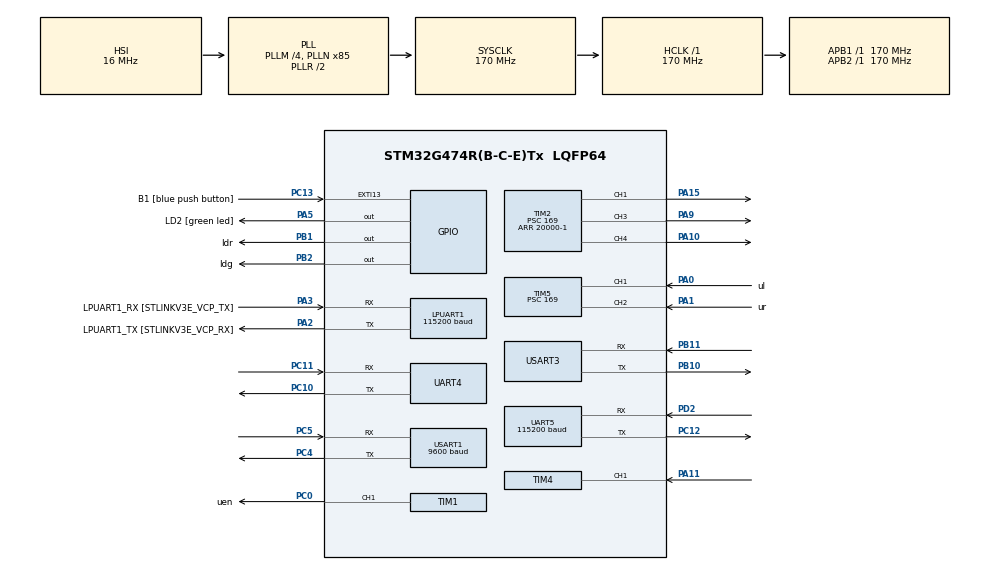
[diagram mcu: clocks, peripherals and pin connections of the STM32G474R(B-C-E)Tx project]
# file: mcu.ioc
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LPUART1.BaudRate=115200
Mcu.Family=STM32G4
Mcu.Name=STM32G474R(B-C-E)Tx
Mcu.Package=LQFP64
NVIC.EXTI15_10_IRQn=true\:0\:0\:false\:false\:true\:true\:true\:true
NVIC.PriorityGroup=NVIC_PRIORITYGROUP_4
NVIC.TIM4_IRQn=true\:0\:0\:false\:false\:true\:true\:true\:true
NVIC.TIM5_IRQn=true\:0\:0\:false\:false\:true\:true\:true\:true
PA0.GPIO_Label=ul
PA0.Signal=S_TIM5_CH1
PA1.GPIO_Label=ur
PA1.Signal=S_TIM5_CH2
PA10.Signal=S_TIM2_CH4
PA11.Signal=S_TIM4_CH1
PA13.GPIO_Label=T_SWDIO
PA13.Mode=Serial_Wire
PA13.Signal=SYS_JTMS-SWDIO
PA14.GPIO_Label=T_SWCLK
PA14.Mode=Serial_Wire
PA14.Signal=SYS_JTCK-SWCLK
PA15.Signal=S_TIM2_CH1
PA2.GPIO_Label=LPUART1_TX [STLINKV3E_VCP_RX]
PA2.Mode=Asynchronous
PA2.Signal=LPUART1_TX
PA3.GPIO_Label=LPUART1_RX [STLINKV3E_VCP_TX]
PA3.Mode=Asynchronous
PA3.Signal=LPUART1_RX
PA5.GPIO_Label=LD2 [green led]
PA5.Signal=GPIO_Output
PA9.Signal=S_TIM2_CH3
PB1.GPIO_Label=ldr
PB1.Signal=GPIO_Output
PB10.Mode=Asynchronous
PB10.Signal=USART3_TX
PB11.Mode=Asynchronous
PB11.Signal=USART3_RX
PB2.GPIO_Label=ldg
PB2.Signal=GPIO_Output
PB3.GPIO_Label=T_SWO
PB3.Signal=SYS_JTDO-SWO
PC0.GPIO_Label=uen
PC0.Signal=S_TIM1_CH1
PC10.Mode=Asynchronous
PC10.Signal=UART4_TX
PC11.Mode=Asynchronous
PC11.Signal=UART4_RX
PC12.Mode=Asynchronous
PC12.Signal=UART5_TX
PC13.GPIO_Label=B1 [blue push button]
PC13.Signal=GPXTI13
PC14-OSC32_IN.Mode=LSE-External-Oscillator
PC14-OSC32_IN.Signal=RCC_OSC32_IN
PC15-OSC32_OUT.Mode=LSE-External-Oscillator
PC15-OSC32_OUT.Signal=RCC_OSC32_OUT
PC4.Mode=Asynchronous
PC4.Signal=USART1_TX
PC5.Mode=Asynchronous
PC5.Signal=USART1_RX
PD2.Mode=Asynchronous
PD2.Signal=UART5_RX
PF0-OSC_IN.Mode=HSE-External-Oscillator
PF0-OSC_IN.Signal=RCC_OSC_IN
PF1-OSC_OUT.Mode=HSE-External-Oscillator
PF1-OSC_OUT.Signal=RCC_OSC_OUT
ProjectManager.HeapSize=0x200
ProjectManager.StackSize=0x400
ProjectManager.TargetToolchain=STM32CubeIDE
RCC.ADC12Freq_Value=170000000
RCC.ADC345Freq_Value=170000000
RCC.AHBFreq_Value=170000000
RCC.APB1Freq_Value=170000000
RCC.APB1TimFreq_Value=170000000
RCC.APB2Freq_Value=170000000
RCC.APB2TimFreq_Value=170000000
RCC.CortexFreq_Value=170000000
RCC.EXTERNAL_CLOCK_VALUE=12288000
RCC.HCLKFreq_Value=170000000
RCC.HSE_VALUE=24000000
RCC.HSI48_VALUE=48000000
RCC.HSI_VALUE=16000000
RCC.PLLM=RCC_PLLM_DIV4
RCC.PLLN=85
RCC.RTCClockSelection=RCC_RTCCLKSOURCE_LSE
RCC.SYSCLKFreq_VALUE=170000000
RCC.SYSCLKSource=RCC_SYSCLKSOURCE_PLLCLK
RCC.USBFreq_Value=170000000
RCC.VCOOutputFreq_Value=340000000
SH.S_TIM1_CH1.0=TIM1_CH1,PWM Generation1 CH1
SH.S_TIM2_CH1.0=TIM2_CH1,PWM Generation1 CH1
SH.S_TIM2_CH3.0=TIM2_CH3,PWM Generation3 CH3
SH.S_TIM2_CH4.0=TIM2_CH4,PWM Generation4 CH4
SH.S_TIM4_CH1.0=TIM4_CH1,Input_Capture1_from_TI1
SH.S_TIM5_CH1.0=TIM5_CH1,Input_Capture1_from_TI1
SH.S_TIM5_CH2.0=TIM5_CH2,Input_Capture2_from_TI2
TIM1.Channel-PWM\ Generation1\ CH1=TIM_CHANNEL_1
TIM1.PeriodNoDither=3499
TIM1.Prescaler=1699
TIM1.PulseNoDither_1=1
TIM2.Channel-PWM\ Generation1\ CH1=TIM_CHANNEL_1
TIM2.Channel-PWM\ Generation3\ CH3=TIM_CHANNEL_3
TIM2.Channel-PWM\ Generation4\ CH4=TIM_CHANNEL_4
TIM2.PeriodNoDither=20000-1
TIM2.Prescaler=169
TIM2.PulseNoDither_1=500
TIM2.PulseNoDither_3=500
TIM2.PulseNoDither_4=500
TIM4.Channel-Input_Capture1_from_TI1=TIM_CHANNEL_1
TIM4.ICPolarity_CH1=TIM_INPUTCHANNELPOLARITY_BOTHEDGE
TIM4.PeriodNoDither=0xffff
TIM4.Prescaler=33999
TIM5.Channel-Input_Capture1_from_TI1=TIM_CHANNEL_1
TIM5.Channel-Input_Capture2_from_TI2=TIM_CHANNEL_2
TIM5.ICPolarity_CH1=TIM_INPUTCHANNELPOLARITY_BOTHEDGE
TIM5.ICPolarity_CH2=TIM_INPUTCHANNELPOLARITY_BOTHEDGE
TIM5.PeriodNoDither=0xffffffff
TIM5.Prescaler=169
UART5.BaudRate=115200
USART1.BaudRate=9600
USART1.VirtualMode-Asynchronous=VM_ASYNC
USART3.VirtualMode-Asynchronous=VM_ASYNC
VP_SYS_VS_DBSignals.Mode=DisableDeadBatterySignals
VP_TIM1_VS_ClockSourceINT.Mode=Internal
VP_TIM2_VS_ClockSourceINT.Mode=Internal
VP_TIM4_VS_ClockSourceINT.Mode=Internal
VP_TIM5_VS_ClockSourceINT.Mode=Internal
board=NUCLEO-G474RE

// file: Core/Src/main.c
/* USER CODE BEGIN Header */
/**
 ******************************************************************************
 * @file           : main.c
 * @brief          : Main program body
 ******************************************************************************
 * @attention
 *
 * Copyright (c) 2023 STMicroelectronics.
 * All rights reserved.
 *
 * This software is licensed under terms that can be found in the LICENSE file
 * in the root directory of this software component.
 * If no LICENSE file comes with this software, it is provided AS-IS.
 *
 ******************************************************************************
 */
/* USER CODE END Header */
#include "main.h"

/* USER CODE BEGIN Includes */
#include "stdio.h"

#include "pid.h"
/* USER CODE END Includes */

/* USER CODE BEGIN PD */

// for ATK process
#define UART_ENABLE_RE(USARTx) USARTx.Instance->CR1 |= (uint32_t)0x0004
#define UART_DISABLE_RE(USARTx) USARTx.Instance->CR1 &= (~(uint32_t)0x0004)

/* USER CODE END PD */

UART_HandleTypeDef hlpuart1;
UART_HandleTypeDef huart4;
UART_HandleTypeDef huart5;
UART_HandleTypeDef huart1;
UART_HandleTypeDef huart3;

TIM_HandleTypeDef htim1;
TIM_HandleTypeDef htim2;
TIM_HandleTypeDef htim4;
TIM_HandleTypeDef htim5;

/* USER CODE BEGIN PV */
// varables for the timer
uint8_t timel_flag = 0; // 0: first capture, 1: second capture
uint8_t timel_fin = 0;  // 0: not finished, 1: finished
uint64_t timel_1 = 0;
uint64_t timel_2 = 0; // left sensor
double cml = 0;       // cm of left sensor

uint8_t timer_flag = 0; // 0: first capture, 1: second capture
uint8_t timer_fin = 0;  // 0: not finished, 1: finished
uint64_t timer_1 = 0;
uint64_t timer_2 = 0; // right sensor
double cmr = 0;       // cm of right sensor

uint8_t timef_flag = 0;
uint8_t timef_fin = 0; // 0: not finished, 1: finished
uint32_t timef_1 = 0;
uint32_t timef_2 = 0; // right sensor
double cmf = 0;       // cm of right sensor

uint8_t ultraerrorcount_f=0;
uint8_t ultraerrorcount_l=0;
uint8_t ultraerrorcount_r=0;
uint8_t lflag=0;
uint8_t rflag=0;

double Inputultra, Outputultra;
double Setpointultra = 0;
double Inputdistance, Outputdistance;
double Setpointdistance = 15;

double Inputopenmv, Outputopenmv;
double Setpointopenmv = 0;

double Inputgyro, Outputgyro;
double Setpointgyro = 0;

PID_TypeDef myPIDultra;    // PID structure
PID_TypeDef myPIDdistance; // PID structure

PID_TypeDef myPIDopenmv; // PID structure

PID_TypeDef myPIDgyro; // PID structure

int xspeed = 0;    // speed of x axis
uint8_t xflag = 0; // 2: forward, 1: backward

int yspeed = 0;    // speed of y axis
uint8_t yflag = 0; // 2: right, 1: left

uint16_t wspeed = 0; // anguler speed
uint8_t wflag = 0;   // 2: counter-clock, 1: clock

uint8_t openmv_instrction[7] = {0}; // instruction from openmv

float roll, pitch, yaw; // ATK Return Value
int selfAngelint;
float initial_Pitch; // ATK Return Value
int initial_selfAngelint;
int openmvAngle=0;

uint8_t turnLeftCounter=0;
uint8_t turnRightCounter=0;

uint32_t timecount=200;

char buf[2];

uint8_t patio2counter=0 ;
/* USER CODE END PV */

void SystemClock_Config(void);
static void MX_GPIO_Init(void);
static void MX_TIM5_Init(void);
static void MX_TIM1_Init(void);
static void MX_LPUART1_UART_Init(void);
static void MX_UART4_Init(void);
static void MX_TIM4_Init(void);
static void MX_UART5_Init(void);
static void MX_USART1_UART_Init(void);
static void MX_USART3_UART_Init(void);
static void MX_TIM2_Init(void);
/* USER CODE BEGIN PFP */
// Redirect printf to UART
#define PUTCHAR_PROTOTYPE int __io_putchar(int ch)

void afterArrowIdent(uint8_t angle)
{
  turn_Angle(angle, 1);
  // get initial value

  ATKPrcess();
  initial_selfAngelint = selfAngelint;

  while (1)
  {
    if (cmf < 40)
      break;

    Forward(15);
    walkStraight();
    drive();
    togglewalk();

  }
  Forward(20);
  drive();
  HAL_Delay(2500);

  Backward(20);
  drive();
  HAL_Delay(2500);
}
//toggle rg led
void togglewalk()
{
  HAL_GPIO_TogglePin(ldr_GPIO_Port,ldr_Pin);
  HAL_GPIO_TogglePin(ldg_GPIO_Port,ldg_Pin);
  HAL_Delay(5);

  HAL_GPIO_TogglePin(ldr_GPIO_Port,ldr_Pin);
  HAL_GPIO_TogglePin(ldg_GPIO_Port,ldg_Pin);
  HAL_Delay(5);

  HAL_GPIO_TogglePin(ldr_GPIO_Port,ldr_Pin);
  HAL_GPIO_TogglePin(ldg_GPIO_Port,ldg_Pin);
  HAL_Delay(5);

  HAL_GPIO_TogglePin(ldr_GPIO_Port,ldr_Pin);
  HAL_GPIO_TogglePin(ldg_GPIO_Port,ldg_Pin);
  HAL_Delay(5);

  HAL_Delay(30);
}
// define a function to toggle the LD2 LED in a certain pattern
void toggleLD2(uint32_t delay)
{
  HAL_GPIO_WritePin(LD2_GPIO_Port, LD2_Pin, GPIO_PIN_SET);
  HAL_Delay(delay);
  HAL_GPIO_WritePin(LD2_GPIO_Port, LD2_Pin, GPIO_PIN_RESET);
  HAL_Delay(delay);
  // printf("Working\r\n");
}

// interrupt handler for the timer
void HAL_TIM_IC_CaptureCallback(TIM_HandleTypeDef *htim)
{
  if (htim->Instance == TIM5)
  {
    switch (htim->Channel)
    {
    case HAL_TIM_ACTIVE_CHANNEL_2: // right sensor
      if (timer_flag == 0)
      {
        timer_1 = HAL_TIM_ReadCapturedValue(htim, TIM_CHANNEL_2);
        // printf("Echo right counter tr1= %d\r\n",timer_1);
        timer_flag = 1;
        timer_fin = 0;
      }
      else
      {
        timer_2 = HAL_TIM_ReadCapturedValue(htim, TIM_CHANNEL_2);
        // printf("Echo right counter tr2= %d\r\n",timer_2);
        timer_flag = 0;
        timer_fin = 1;
        if (timer_1 < timer_2) // if the timer is not overflowed
        {
          cmr = (double)(timer_2 - timer_1) * 0.017; // 340*100/1e6/2
        }
        else
        {
          cmr = (double)(timer_2 + 0xffffffff - timer_1) * 0.017; // 340*100/1e6/2
        }
        timer_1 = 0;
        // printf("Distance right = %.3f cm. \r\n",  cmr);
      }
      // printf("Echo right: t1= %.3f us,  t2= %.3f us\r",timer_1*10, timer_2*10);
      HAL_TIM_IC_Start_IT(&htim5, TIM_CHANNEL_2);
      break;

    case HAL_TIM_ACTIVE_CHANNEL_1: // left sensor
      if (timel_flag == 0)
      {
        timel_1 = HAL_TIM_ReadCapturedValue(htim, TIM_CHANNEL_1);
        // printf("Echo left counter tl1= %d\r\n",timel_1);
        timel_flag = 1;
        timel_fin = 0;
      }
      else
      {
        timel_2 = HAL_TIM_ReadCapturedValue(htim, TIM_CHANNEL_1);
        // printf("Echo left counter tl2= %d\r\n",timel_2);
        timel_flag = 0;
        timel_fin = 1;
        if (timel_1 < timel_2) // if the timer is not overflowed
        {
          cml = (double)(timel_2 - timel_1) * 0.017; // 340*100/1e6/2
        }
        else
        {
          cml = (double)(timel_2 + 0xffffffff - timel_1) * 0.017; // 340*100/1e6/2
        }
        timel_1 = 0;
      }
      // printf("Echo left: t1= %.3f us,  t2= %.3f us\r",timel_1*10, timel_2*10);
      // printf("Distance left = %.3f cm. \r\n",  cml);
      HAL_TIM_IC_Start_IT(&htim5, TIM_CHANNEL_1);
      break;
    default:
      printf("Error timer channel.\r\n");
      break;
    }
  }
  if (htim->Instance == TIM4)
  {
    switch (htim->Channel)
    {
    case HAL_TIM_ACTIVE_CHANNEL_1: // right sensor
      if (timef_flag == 0)
      {
        timef_1 = HAL_TIM_ReadCapturedValue(htim, TIM_CHANNEL_1);
        // printf("Echo front: tf1= %d us\r",timef_1*10);
        timef_flag = 1;
        timef_fin = 0;
      }
      else
      {
        timef_2 = HAL_TIM_ReadCapturedValue(htim, TIM_CHANNEL_1);
        timef_flag = 0;
        timef_fin = 1;
        if (timef_1 < timef_2) // if the timer is not overflowed
        {
          cmf = (double)(timef_2 - timef_1) * 3.4; // 340*100/5e3/2
        }
        else
        {
          cmf = (double)(timef_2 + 0xffff - timef_1) * 3.4; // 340*100/5e3/2
        }
        timef_1 = 0;
      }
      // printf("Echo front: t= %.3f us\r\n",timel_1*10, timer_2*10);
      // printf("Distance front = %.3f cm. \r\n",  cmf);
      HAL_TIM_IC_Start_IT(&htim4, TIM_CHANNEL_1);
      break;
    default:
      printf("Error timer channel.\r\n");
      break;
    }
  }
}
void toggleldr(uint32_t delay)
{
  HAL_GPIO_WritePin(ldr_GPIO_Port, ldr_Pin, GPIO_PIN_SET);
  HAL_Delay(delay);
  HAL_GPIO_WritePin(ldr_GPIO_Port, ldr_Pin, GPIO_PIN_RESET);
  HAL_Delay(delay);
}

void toggleldg(uint32_t delay)
{
  HAL_GPIO_WritePin(ldg_GPIO_Port, ldg_Pin, GPIO_PIN_SET);
  HAL_Delay(delay);
  HAL_GPIO_WritePin(ldg_GPIO_Port, ldg_Pin, GPIO_PIN_RESET);
  HAL_Delay(delay);
}

void drive()
{
  // Transfer int to char for output
  char outputstr[11];
  outputstr[0] = 0x90;
  outputstr[1] = xflag;
  outputstr[2] = xspeed / 10;
  outputstr[3] = xspeed % 10;
  outputstr[4] = yflag;
  outputstr[5] = yspeed / 10;
  outputstr[6] = yspeed % 10;
  outputstr[7] = wflag;
  outputstr[8] = '0';
  outputstr[9] = '1';
  outputstr[10] = '2';
  // Transmit the instruction to the motor driver
  printf("Speed Left=%d, Speed Right=%d\r\n", xspeed, yspeed);
  HAL_UART_Transmit(&huart4, (uint8_t *)outputstr, 11, 100);
}
// Redirect arduino print to UART
void print(double c)
{
  printf("%.3f", c);
}
// Redirect arduino println to UART
void println(double str)
{
  printf("%.3f\r\n", str);
}
// Redifine output functions

void Right(uint8_t speed)
{
  yspeed = speed;
  yflag = 2;
}

void Left(uint8_t speed)
{
  yspeed = speed;
  yflag = 1;
}

void Forward(uint8_t speed)
{
  xspeed = speed;
  yspeed = speed;
  xflag = 2;
  yflag = 2;
}

void Backward(uint8_t speed)
{
  xspeed = speed;
  yspeed = speed;
  xflag = 1;
  yflag = 1;
}

void Turn_Left(uint8_t speed)
{
  xspeed = xspeed - speed;
  yspeed = yspeed + speed;
  wflag = 0;
  if (xspeed < 0)
  {
    xflag = 1;
  }
  else
  {
    xflag = 2;
  }
  if (yspeed < 0)
  {
    yflag = 1;
  }
  else
  {
    yflag = 2;
  }
}

void Turn_Right(uint8_t speed)
{
  xspeed = xspeed + speed;
  yspeed = yspeed - speed;
  wflag = 1;
  if (xspeed < 0)
  {
    xflag = 1;
  }
  else
  {
    xflag = 2;
  }
  if (yspeed < 0)
  {
    yflag = 1;
  }
  else
  {
    yflag = 2;
  }
}

void gyroAlignment(double input)
{
  Inputgyro = input;
  if (PID_Compute(&myPIDgyro)==_FALSE)
      printf("PID_Compute for gyro error\r\n");
    printf("Outputgyro = %.3f\r\n", Outputgyro);

  if (Outputgyro > 1)
  {

    Turn_Left((uint8_t)Outputgyro);
  }
  if (Outputgyro < -1)
  {
    Turn_Right((uint8_t)(-Outputgyro));
  }
  if ((Inputgyro <= 1) && (Inputgyro >= -1))
  {
    Turn_Left(0);
  }
}
/***example***/
//in task function
//Forward(10);
//gyroAlignment(angle);
//drive();
//toggleld2(50);
/***example***/

void Alignment(double cmleft, double cmright)
{
  printf("Distance left = %.3f cm, Distance right = %.3f cm.\r\n", cmleft, cmright);
  Inputultra = cmleft-cmright;

  //When previous process have not been finished, do nothing, just align
  if ((cmleft-cmright>2)||(cmleft-cmright<-2))
  {
    if (PID_Compute(&myPIDultra)==_FALSE)
      printf("PID_Compute for ultra error\r\n");
    printf("Outputultra = %.3f\r\n", Outputultra);

    if (Outputultra >= 0)
      Turn_Left((uint8_t)Outputultra);
    else
      Turn_Right((uint8_t)(-Outputultra));
    return;
  }

  // if((cmleft < 15)&&(cmright < 15))
  // {
  //   //go left
  //   printf("Too close to wall\r\n");
  //   HAL_GPIO_WritePin(ldr_GPIO_Port,ldr_Pin,GPIO_PIN_SET);
  //   for(uint8_t i =0; i<=9;i++)
  //   {
  //     HAL_GPIO_TogglePin(ldr_GPIO_Port,ldr_Pin);
  //     Forward(10);
  //     Turn_Left(8);
  //     drive();
  //     HAL_Delay(100);
  //   }
  //   HAL_GPIO_TogglePin(ldr_GPIO_Port,ldr_Pin);
  //   Forward(10);
  //   Turn_Right(0);
  //   drive();
  //   HAL_Delay(1000);
  //   HAL_GPIO_WritePin(ldr_GPIO_Port,ldr_Pin,GPIO_PIN_RESET);
  //   return;
  // }
  // else
  // {
  //   if((cmleft > 30)&&(cmright > 30))
  //   {
  //     //go right
  //     printf("Too far from wall\r\n");
  //     HAL_GPIO_WritePin(ldg_GPIO_Port,ldg_Pin,GPIO_PIN_SET);
  //     for(uint8_t i =0; i<=9;i++)
  //     {
  //       HAL_GPIO_TogglePin(ldg_GPIO_Port,ldg_Pin);
  //       Forward(10);
  //       Turn_Right(8);
  //       drive();
  //       HAL_Delay(100);
  //     }
  //     HAL_GPIO_TogglePin(ldg_GPIO_Port,ldg_Pin);
  //     Forward(10);
  //     Turn_Left(0);
  //     drive();
  //     HAL_Delay(1000);
  //     HAL_GPIO_WritePin(ldg_GPIO_Port,ldg_Pin,GPIO_PIN_RESET);
  //     return;

  //   }
  //   else
  //   {
  //     //do nothing
  //     Turn_Left(0);
  //   }
  // }

  if (PID_Compute(&myPIDultra)==_FALSE)
    printf("PID_Compute for ultra error\r\n");
  printf("Outputultra = %.3f\r\n", Outputultra);

  if (Outputultra >= 0)
  {
    Turn_Left((uint8_t)Outputultra);
  }
  else
  {
    Turn_Right((uint8_t)(-Outputultra));
  }
}

void superAlignment(double precision)
{
  printf("Super Alignment Started.\r\n");

  while (1)
  {
    while((timel_fin==1 && timer_fin ==1)!=1)
      {
        HAL_Delay(1);
      }
      //printf("cm left = %.3f, cm right = %.3f\r\n", cml, cmr);
      //cml+=1;

    if((cml-cmr<precision) && (cml-cmr)>(-1*precision))
    {
      //double check
      Forward(0);
      drive();
      HAL_Delay(500);

      printf("Super Alignment Finished.\r\n");
      Forward(0);
      drive();
      if((cml-cmr<precision) && (cml-cmr)>(-1*precision))
      {
        HAL_GPIO_WritePin(ldr_GPIO_Port,ldr_Pin,GPIO_PIN_RESET);
        HAL_GPIO_WritePin(ldg_GPIO_Port,ldg_Pin,GPIO_PIN_RESET);
        toggleLD2(500);
        return;
      }
      else
      {
        continue;
      }
    }
    else
    {
      Inputultra = cml-cmr;
      if (PID_Compute(&myPIDultra)==_FALSE)
        printf("PID_Compute for ultra error\r\n");
      printf("Outputultra = %.3f\r\n", Outputultra);

      if (Outputultra > 0)
      {
        Forward((uint8_t)(5));
        xflag=1;
      }
      else
      {
        Forward((int)(5));
        yflag=1;
      }
      drive();

      HAL_GPIO_TogglePin(ldr_GPIO_Port,ldr_Pin);
      HAL_GPIO_TogglePin(ldg_GPIO_Port,ldg_Pin);
      HAL_Delay(300);
    }
  }
}

void superAlignmentNew(double precision)
{
  printf("Super Alignment Started.\r\n");

  while (1)
  {
    while((timel_fin==1 && timer_fin ==1)!=1)
      {
        HAL_Delay(1);
      }
      //printf("cm left = %.3f, cm right = %.3f\r\n", cml, cmr);
      //cml+=1;

    if((cml-cmr<precision) && (cml-cmr)>(-1*precision))
    {
      //double check
      Forward(0);
      drive();
      HAL_Delay(500);

      printf("Super Alignment Finished.\r\n");
      Forward(0);
      drive();
      if((cml-cmr<precision) && (cml-cmr)>(-1*precision))
      {
        HAL_GPIO_WritePin(ldr_GPIO_Port,ldr_Pin,GPIO_PIN_RESET);
        HAL_GPIO_WritePin(ldg_GPIO_Port,ldg_Pin,GPIO_PIN_RESET);
        toggleLD2(500);
        return;
      }
      else
      {
        continue;
      }
    }
    else
    {
      Inputultra = cml-cmr;

      if (Inputultra > 0)
      {
        Forward(5);
        yflag=1;
      }
      else
      {
        Forward(5);
        xflag=1;
      }
      drive();

      HAL_GPIO_TogglePin(ldr_GPIO_Port,ldr_Pin);
      HAL_GPIO_TogglePin(ldg_GPIO_Port,ldg_Pin);
      HAL_Delay(50);
    }
  }
}

uint8_t hc12send(uint8_t data)
{
  return HAL_UART_Transmit(&huart5, &data, 1, 100);
}

uint8_t openmvreceive(void)
{
  return HAL_UART_Receive(&huart3, &openmv_instrction, 7, 100);
}

int atkAngleRound(int a)
{
  return ((a + 360) % 360);
}

void ATKPrcess() // update ATK value
{
  int r = 0;
  char ATKbuf[100];

  UART_ENABLE_RE(huart1);
  if (HAL_UART_Receive(&huart1, (uint8_t *)ATKbuf, 60, HAL_MAX_DELAY) == HAL_ERROR) // Read frames from ATK
  {
    UART_DISABLE_RE(huart1); // error
    ATKPrcess();
    return;
  }
  UART_DISABLE_RE(huart1);

  // char pp[] = "\x90\x90\x90\x90";
  // SendPC(pp, 4);
  // SendPC(ATKbuf, 30);

  char ATKframes[10];

  for (r = 2; r < 60; r++)
  { // Find the Report message
    if ((ATKbuf[r - 2] == 0x55 && ATKbuf[r - 1] == 0x53))
    {
      int i = 0, N = 8;
      char *tmp = &ATKbuf[r];

      for (i = 0; i < N; i++)
      {
        ATKframes[i] = tmp[i];
      }
      break;
    }
  }

  if (r == 60) // Do not find the correct reply
  {
    ATKPrcess();
    return;
  }

  roll = (float)((int16_t)(ATKframes[1] << 8) | ATKframes[0]) / 32768 * 180;
  pitch = (float)((int16_t)(ATKframes[3] << 8) | ATKframes[2]) / 32768 * 180;
  yaw = (float)((int16_t)(ATKframes[5] << 8) | ATKframes[4]) / 32768 * 180;
  selfAngelint = ((int)yaw + 180) % 360;
  // printf("yaw=%d\r\n", (int)yaw);
  // selfAngelint = ((int)pitch + 180) % 360;
  // SendPC("Roll = ", 8);
  // SendPCint(selfAngelint);
  // char qwq[4];
  // qwq[0] = (int)(selfAngelint/100) + '0';
  // qwq[1] = (int)(selfAngelint/10)%10 + '0';
  // qwq[2] = selfAngelint%10 + '0';
  // qwq[3] = '\n';
  // HAL_UART_Transmit(&huart5, qwq, 4, HAL_MAX_DELAY);
}

void Set_angle(TIM_HandleTypeDef *htim, uint32_t Channel, uint8_t angle, uint32_t countPeriod, uint32_t CycleTime)
{
  uint16_t compare_value = 0;
  if (angle <= 180)
  {
    compare_value = 0.5 * countPeriod / CycleTime + angle * countPeriod / CycleTime / 90; // compute the compare_value
    __HAL_TIM_SET_COMPARE(htim, Channel, compare_value);
  }
}

int GetOpemMv() // Return Turn Angle
{
  printf("IN GetOpenmv\r\n");
  uint8_t r = 0;
  char Mvbuf[10];
  char *frame;
  int TurnAngle = 0;

  UART_ENABLE_RE(huart3);
  if (HAL_UART_Receive(&huart3, (uint8_t *)Mvbuf, 10, HAL_MAX_DELAY) == HAL_ERROR) // Read frames from ATK
  {
    UART_DISABLE_RE(huart3); // error
    return HAL_ERROR;
  }
  UART_DISABLE_RE(huart3);

  for (r = 0; r < 5; r++)
  {
    if (Mvbuf[r] == 'a')
    {
      frame = Mvbuf + r;
      // printf("%s\r\n", frame);
      if (frame[1] == '1')
      {
        TurnAngle = (frame[2] - '0') * 100 + (frame[3] - '0') * 10 + (frame[4] - '0');
        break;
      }
      else if (frame[1] == '2')
      {
        TurnAngle = -((frame[2] - '0') * 100 + (frame[3] - '0') * 10 + (frame[4] - '0'));
        break;
      }
    }
  }
  if (Mvbuf[r] == 'a')
    return TurnAngle;
  return HAL_ERROR;
}

char GetOpemMvArrow() // Return Turn Angle
{
  uint8_t r = 0;
  char Mvbuf[2];
  char realRp='0';

  // UART_ENABLE_RE(huart3);
  if (HAL_UART_Receive(&huart3, (uint8_t *)Mvbuf, 2, HAL_MAX_DELAY) == HAL_ERROR)
  {
    // UART_DISABLE_RE(huart3); // error
    return HAL_ERROR;
  }
  // UART_DISABLE_RE(huart3);
  if (Mvbuf[0] == 'b')
    realRp = Mvbuf[1];
  else
    realRp = Mvbuf[0];

  return realRp;
}

void walkStraight() // Return Turn Angle
{
  ATKPrcess();
  int relativeAngle = 0;

  if(atkAngleRound(selfAngelint - initial_selfAngelint) > 180)
    relativeAngle = -1 * atkAngleRound(initial_selfAngelint - selfAngelint);
  else
    relativeAngle =  atkAngleRound((selfAngelint - initial_selfAngelint));

  gyroAlignment(relativeAngle);
}

void backwalkStraight() // Return Turn Angle
{
  ATKPrcess();
  int relativeAngle = 0;

  if(atkAngleRound(selfAngelint - initial_selfAngelint) > 180)
    relativeAngle = atkAngleRound(initial_selfAngelint - selfAngelint);
  else
    relativeAngle = -1 * atkAngleRound((selfAngelint - initial_selfAngelint));

  gyroAlignment(relativeAngle);
}

void turn_Angle(int angle, int direction)
{
  int aimAngle = 0;
  int iniAngle = 0;
  int comAngle[3];
  int tolAngle = 0;
  int avgAngle = 0;
  int n = 0;
  uint8_t flag = 1;
  ATKPrcess();
  iniAngle = selfAngelint;

  if (direction == 1)
  {
    Forward(0);
    // Left(0);
    // Turn_Left(300); //增大目前角度
    // drive();

    Forward(7);
    xflag=1;
    drive();

    ATKPrcess();
    iniAngle = selfAngelint;
    comAngle[n] = atkAngleRound(selfAngelint - iniAngle);
    tolAngle += comAngle[n];
    n = (n + 1) % 3;

    ATKPrcess();
    comAngle[n] = atkAngleRound(selfAngelint - iniAngle);
    tolAngle += comAngle[n];
    n = (n + 1) % 3;

    ATKPrcess();
    comAngle[n] = atkAngleRound(selfAngelint - iniAngle);
    tolAngle += comAngle[n];
    n = (n + 1) % 3;

    while (1)
    {
      // toggleLD2(10);
      ATKPrcess();
      tolAngle -= comAngle[n];
      comAngle[n] = atkAngleRound(selfAngelint - iniAngle);
      tolAngle += comAngle[n];
      avgAngle = (int)(tolAngle / 3);
      avgAngle = comAngle[n];
      n = (n + 1) % 3;
      if (avgAngle >= (angle - 2) && avgAngle <= (angle + 2))
        break;

      if (avgAngle >= (angle / 2) && avgAngle <= (angle + 3) && flag == 1)
      {
        flag = 2;
        Forward(7);
        xflag=1;
        drive();
        // Left(0);
        // Turn_Left(300); //增大目前角度
        // drive();
      }

      if (avgAngle >= (angle + 2) && flag == 2)
      {
        // flag = 0;
        Forward(0);
        // Left(0);
        // Turn_Right(200); //增大目前角度
        // drive();
        break;
      }
      printf("diff=%d, selfangle=%d, avgAngle=%d \r\n", atkAngleRound(selfAngelint - iniAngle), selfAngelint, avgAngle);
      // SendPCint(aimAngle);
    }

    // Left(0);
    // Turn_Left(0);
    // drive();
    // toggleLD2(100);

    // ATKPrcess();
    // if (atkAngleRound(selfAngelint - iniAngle) >= (angle-1) && atkAngleRound(selfAngelint - iniAngle) <= (angle+1))
    //   return;

    // Left(0);
    // Turn_Right(150); //减小目前角度
    // drive();

    // Forward(0);
    // drive();
    // HAL_Delay(500);

    // Forward(4);
    // yflag=1;
    // drive();
    // while (1)
    // {
    //   // toggleLD2(5);
    //   if (atkAngleRound(selfAngelint - iniAngle) >= (angle-3) && atkAngleRound(selfAngelint - iniAngle) <= (angle+3))
    //     break;
    //   ATKPrcess();

    //   // SendPCint(aimAngle);
    // }
  }
  else if (direction == 2)
  {
    Forward(0);
    // Left(0);
    // Turn_Right(300);//减小目前角度
    // drive();
    Forward(7);
    yflag=1;
    drive();

    ATKPrcess();
    iniAngle = selfAngelint;
    comAngle[n] = atkAngleRound(iniAngle - selfAngelint);
    tolAngle += comAngle[n];
    n = (n + 1) % 3;

    ATKPrcess();
    comAngle[n] = atkAngleRound(iniAngle - selfAngelint);
    tolAngle += comAngle[n];
    n = (n + 1) % 3;

    ATKPrcess();
    comAngle[n] = atkAngleRound(iniAngle - selfAngelint);
    tolAngle += comAngle[n];
    n = (n + 1) % 3;

    while (1)
    {
      // toggleLD2(10);
      ATKPrcess();
      tolAngle -= comAngle[n];
      comAngle[n] = atkAngleRound(iniAngle - selfAngelint);
      tolAngle += comAngle[n];
      // avgAngle = (int)(tolAngle / 3);
      avgAngle = comAngle[n];
      n = (n + 1) % 3;
      if (avgAngle >= (angle - 3) && avgAngle <= (angle + 7))
        break;
      if (avgAngle >= (angle / 2) && avgAngle <= (angle + 7) && flag == 1)
      {
        flag = 2;
        Forward(7);
        yflag=1;
        drive();
        // Left(0);
        // Turn_Right(400); //增大目前角度
        // drive();
      }

      if (avgAngle >= (angle + 2) && flag == 2)
      {

        //        flag = 0;
        Forward(0);
        //        Left(0);
        //        Turn_Left(200); //增大目前角度
        //        drive();
        break;
      }
      printf("diff=%d, selfangle=%d, avgAngle=%d \r\n", atkAngleRound(iniAngle - selfAngelint), selfAngelint, avgAngle);
      // printf("diff=%d, selfangle=%d \r\n", atkAngleRound(selfAngelint - iniAngle), selfAngelint);
    }

    // Forward(0);
    // drive();

    // HAL_Delay(500);

    // Forward(4);
    // xflag=1;
    // drive();
    // while (1)
    // {
    //   if (atkAngleRound(iniAngle - selfAngelint) >= (angle-2) && atkAngleRound(iniAngle - selfAngelint) <= (angle+2))
    //     break;
    //   ATKPrcess();
    // }
  }

  Forward(0);
  drive();
  toggleLD2(100);
  return;
}
void celebrate()
{
  while (1)
  {
    HAL_GPIO_TogglePin(ldr_GPIO_Port,ldr_Pin);
    toggleLD2(100);
    HAL_GPIO_TogglePin(ldr_GPIO_Port,ldr_Pin);
    toggleLD2(100);
    HAL_GPIO_TogglePin(ldg_GPIO_Port,ldg_Pin);
    toggleLD2(100);
    HAL_GPIO_TogglePin(ldg_GPIO_Port,ldg_Pin);
    toggleLD2(100);
  }
}
void task (uint8_t numberoftask)
{
  switch (numberoftask)
  {
  case 1:
    /****************TASK 1******************/
    printf("task 1 begin\r\n");

    while(((timel_fin==1 && timer_fin ==1)&& timef_fin==1)!=1)
    {
      //waiting for the counting to finish
      toggleLD2(10);
    }

    if (cml<20 && cmr<20)
    {//alignment
      printf("Found the bridge\r\n");
      Forward(0);
      drive();
      HAL_Delay(1000);
      superAlignment(1);

      Forward(0);
      drive();
      HAL_Delay(1000);

      //turn right
      Forward(10);
      printf("Turning right\r\n");
      HAL_GPIO_WritePin(ldr_GPIO_Port, ldr_Pin,GPIO_PIN_SET);

      for(uint8_t i = 0 ;i<4;i++)
      {
        Forward(15);
        drive();
        toggleLD2(400);
      }

      Forward(0);
      drive();
      toggleLD2(500);

      turn_Angle(65,2);

      //finish the turning
      for(uint8_t i = 0 ;i<5;i++)
      {
        Forward(15);
        drive();
        toggleLD2(400);
      }
      HAL_GPIO_WritePin(ldr_GPIO_Port, ldr_Pin,GPIO_PIN_RESET);

      //alignment
      Forward(0);
      drive();
      HAL_Delay(1000);
      superAlignment(1);

      Forward(0);
      drive();
      HAL_Delay(1000);

      //get initial value

      ATKPrcess();
      initial_selfAngelint= selfAngelint;

      while (1)
      {
        if(cmf<19)
          break;

        Forward(15);
        walkStraight();
        drive();
        togglewalk();

      }

      Forward(0);
      drive();
      HAL_Delay(1000);

      turn_Angle(80,1);

      Forward(0);
      drive();
      HAL_Delay(1000);

      //trace the white line
      superAlignment(1);

      Forward(0);
      drive();
      HAL_Delay(1000);

      // UART_ENABLE_RE(huart3);
      // HAL_UART_Transmit(&huart3, "task3", 5, HAL_MAX_DELAY);
      // UART_DISABLE_RE(huart3);
      uint32_t time=0;
      ATKPrcess();
      initial_selfAngelint= selfAngelint;
      while (1)
      {
        // if((cml<20||cmr<20)&& time >30)
        //   break;

        // time++;

        // openmvAngle = GetOpemMv();
        // // openmvAngle=100;

        // Inputopenmv = openmvAngle;
        // if (openmvAngle != HAL_ERROR)
        // {
        //   printf("openmvangle=%d\r\n", openmvAngle);

        //   if (PID_Compute(&myPIDopenmv)==_FALSE)
        //     printf("PID_Compute for OpenMV error\r\n");

        //   printf("Outputopenmv = %.3f\r\n", Outputopenmv);

        //   if(Outputopenmv > 0)
        //   {
        //     Forward(15);
        //     Turn_Left((int)Outputopenmv);
        //     drive();
        //   }
        //   else
        //   {
        //     Forward(15);
        //     Turn_Right((int)((-1) * Outputopenmv));
        //     drive();
        //   }
        //   toggleLD2(250);
        // }

        if(cmf < 40 && time > 50)
          break;

        Forward(15);
        walkStraight();
        drive();
        togglewalk();

        time++;
      }
      Forward(0);
      drive();
      celebrate();
    }

    UART_DISABLE_RE(huart3);

    openmvAngle = GetOpemMv();
    // openmvAngle=100;

    Inputopenmv = openmvAngle;
    if (openmvAngle != HAL_ERROR)
    {
      printf("openmvangle=%d\r\n", openmvAngle);

      if (PID_Compute(&myPIDopenmv)==_FALSE)
        printf("PID_Compute for OpenMV error\r\n");

      printf("Outputopenmv = %.3f\r\n", Outputopenmv);

      if(Outputopenmv > 0)
      {
        Forward(15);
        Turn_Left((int)Outputopenmv);
        drive();
      }
      else
      {
        Forward(15);
        Turn_Right((int)((-1) * Outputopenmv));
        drive();
      }
      toggleLD2(25);
      return;
    }
    /****************TASK 1******************/
    break;
  case 2:
    /****************TASK 2******************/
    printf("task 2 begin\r\n");

    if (patio2counter == 0)
    {
      ATKPrcess();
      initial_selfAngelint= selfAngelint;

      Set_angle(&htim2, TIM_CHANNEL_4, 110, 20000, 20);

      while (1)
      {
        if(cmf<40)
          break;

        Forward(15);
        walkStraight();
        drive();
        togglewalk();
      }
      Forward(0);
      drive();
      HAL_Delay(1000);
      HAL_UART_Transmit(&huart3, "task2", 5, HAL_MAX_DELAY);
      HAL_Delay(500);
      // buf[1] = '1';
      while (1)
      {
        buf[1] = GetOpemMvArrow();
        if (buf[1] == '1' || buf[1] == '2')
          break;
        if(buf[1] == '3')
          break;
      }
      //buf[1]='2';
      // 1 right; 2 front; 3 left
      switch (buf[1])
      {
      case '1':
        afterArrowIdent(40);
        turn_Angle(40, 1);
        break;

      case '2':
        afterArrowIdent(70);
        break;

      case '3':
        afterArrowIdent(118);
        turn_Angle(40, 2);
        break;

      default:
        break;
      }

    //toggleLD2(1000);
    // turn_Angle(90,2);
    // HAL_Delay(10000);
    }

    ATKPrcess();
    initial_selfAngelint = selfAngelint;

    while(1)
    {
      if(cmf <= 25)
        break;
      Forward(15);
      walkStraight();
      drive();
      togglewalk();
    }

    Forward(0);
    drive();

    HAL_Delay(500);

    turn_Angle(80,1);

    Forward(5);
    xflag = 1;
    drive();

    while (1)
    {
      while((timel_fin==1 && timer_fin ==1)!=1)
      {
        //waiting for the counting to finish
        toggleLD2(20);
        //printf("waiting for the counting to finish\r\n");
      }
      if(cml <= 30 && cmr <= 30)
        break;
    }

    Forward(0);
    drive();

    HAL_Delay(500);

    superAlignment(1.5);

    turn_Angle(160,1);

    // 2 round
    ATKPrcess();
    initial_selfAngelint = selfAngelint;

    while(1)
    {
      if(cmf <= 25)
        break;
      Forward(15);
      walkStraight();
      drive();
      togglewalk();
    }

    Forward(0);
    drive();

    HAL_Delay(500);

    turn_Angle(90,1);

    Forward(5);
    yflag = 1;
    drive();

    while (1)
    {
      while((timel_fin==1 && timer_fin ==1)!=1)
      {
        //waiting for the counting to finish
        toggleLD2(20);
        //printf("waiting for the counting to finish\r\n");
      }
      if(cml <= 30 && cmr <= 30)
        break;
    }

    Forward(0);
    drive();

    HAL_Delay(500);

    superAlignment(1.5);

    //3 round
    ATKPrcess();
    initial_selfAngelint = selfAngelint;

    while(1)
    {
      if(cml >= 100 && cmr >= 100)
        break;
      Forward(15);
      walkStraight();
      drive();
      togglewalk();
    }

    Forward(15);
    drive();

    HAL_Delay(3500);

    turn_Angle(75,2);

    Forward(0);
    drive();

    HAL_Delay(500);

    ATKPrcess();
    initial_selfAngelint = selfAngelint;

    while(1)
    {
      if(cmf <= 30)
        break;
      Forward(15);
      walkStraight();
      drive();
      togglewalk();
    }

    HAL_Delay(1000);

    Forward(5);
    xflag = 1;
    drive();

    turn_Angle(80,1);

    while (1)
    {
      while((timel_fin==1 && timer_fin ==1)!=1)
      {
        //waiting for the counting to finish
        toggleLD2(20);
        //printf("waiting for the counting to finish\r\n");
      }
      if(cml <= 30 && cmr <= 30)
        break;
    }

    superAlignment(1.5);

    ATKPrcess();
    initial_selfAngelint = selfAngelint;

    while(1)
    {
      if(cmf <= 20)
        break;
      Forward(15);
      walkStraight();
      drive();
      togglewalk();
    }

    Forward(0);
    drive();

    HAL_Delay(1000);

    Set_angle(&htim2, TIM_CHANNEL_1, 120, 20000, 20);

    HAL_Delay(5000);

    Set_angle(&htim2, TIM_CHANNEL_1, 0, 20000, 20);

    HAL_Delay(5000);

    turn_Angle(70, 1);

    ATKPrcess();
    initial_selfAngelint = selfAngelint;

    // while(1)
    // {
    //   if(cmf <= 20)
    //     break;
    //   Forward(15);
    //   walkStraight();
    //   drive();
    //   togglewalk();
    // }

    for(int mytmp = 0; mytmp < 500; mytmp++)
    {
      if(cmf <= 20)
        break;
      Forward(15);
      walkStraight();
      drive();
      HAL_Delay(100);
    }
    Forward(0);
    drive();

    HAL_Delay(1000);
    for (uint8_t i =0; i<10; i++)
      hc12send('a');
    HAL_Delay(2000);

    ATKPrcess();
    initial_selfAngelint = selfAngelint;

    for(int mytmp = 0; mytmp < 100; mytmp++)
    {
      if(cmf <= 40)
        break;
      Forward(15);
      walkStraight();
      drive();
      HAL_Delay(100);
    }
    celebrate();

    /****************TASK 2******************/
    break;

  default:

    HAL_GPIO_WritePin(ldr_GPIO_Port,ldr_Pin,GPIO_PIN_SET);
    while(1)
    {
      printf("Error Task number!\r\n");
    }
    break;
  }
}
/* USER CODE END PFP */

int main(void)
{

  /* MCU Configuration--------------------------------------------------------*/

  /* Reset of all peripherals, Initializes the Flash interface and the Systick. */
  HAL_Init();

  /* Configure the system clock */
  SystemClock_Config();

  /* Initialize all configured peripherals */
  MX_GPIO_Init();
  MX_TIM5_Init();
  MX_TIM1_Init();
  MX_LPUART1_UART_Init();
  MX_UART4_Init();
  MX_TIM4_Init();
  MX_UART5_Init();
  MX_USART1_UART_Init();
  MX_USART3_UART_Init();
  MX_TIM2_Init();
  /* USER CODE BEGIN 2 */
  printf("Starting\r\n");
  // Load parameters to PID
  PID(&myPIDultra, &Inputultra, &Outputultra, &Setpointultra, 1.2, 1, 0.8, _PID_P_ON_E, _PID_CD_DIRECT);
  PID_SetMode(&myPIDultra, _PID_MODE_AUTOMATIC);
  PID_SetSampleTime(&myPIDultra, 50);
  PID_SetOutputLimits(&myPIDultra, -10, 10);

  PID(&myPIDdistance, &Inputdistance, &Outputdistance, &Setpointdistance, 0.8, 200, 15, _PID_P_ON_E, _PID_CD_DIRECT);
  PID_SetMode(&myPIDdistance, _PID_MODE_AUTOMATIC);
  PID_SetSampleTime(&myPIDdistance, 50);
  PID_SetOutputLimits(&myPIDdistance, -5, 5);

  PID(&myPIDopenmv, &Inputopenmv, &Outputopenmv, &Setpointopenmv, 0.2, 0, 0.12, _PID_P_ON_E, _PID_CD_DIRECT);
  PID_SetMode(&myPIDopenmv, _PID_MODE_AUTOMATIC);
  PID_SetSampleTime(&myPIDopenmv, 170);
  PID_SetOutputLimits(&myPIDopenmv, -10, 10);

  PID(&myPIDgyro, &Inputgyro, &Outputgyro, &Setpointgyro, 0.5, 0.1, 1.2, _PID_P_ON_E, _PID_CD_DIRECT);
  PID_SetMode(&myPIDgyro, _PID_MODE_AUTOMATIC);
  PID_SetSampleTime(&myPIDgyro, 50);
  PID_SetOutputLimits(&myPIDgyro, -4, 4);

  // start TIM1 PWM generator
  HAL_TIM_PWM_Start(&htim1, TIM_CHANNEL_1);
  HAL_TIM_PWM_Start(&htim2, TIM_CHANNEL_1); // Machine Arm: 0(normal) and 180(putting)
  HAL_TIM_PWM_Start(&htim2, TIM_CHANNEL_3); // Bule servo(top): 90
  HAL_TIM_PWM_Start(&htim2, TIM_CHANNEL_4); // Bule servo(openmv): 110(rectangle) and 65(45 degree)
  // start TIM5 IT left and right sensor
  HAL_TIM_IC_Start_IT(&htim5, TIM_CHANNEL_1);
  HAL_TIM_IC_Start_IT(&htim5, TIM_CHANNEL_2);
  HAL_TIM_IC_Start_IT(&htim4, TIM_CHANNEL_1);

  // Servo initial position
  Set_angle(&htim2, TIM_CHANNEL_1, 0, 20000, 20);
  Set_angle(&htim2, TIM_CHANNEL_3, 90, 20000, 20);//90 for task 2
  Set_angle(&htim2,TIM_CHANNEL_4, 60,20000,20);
  // Set_angle(&htim2, TIM_CHANNEL_4, 110, 20000, 20);

  //Recode initial Pitch
  UART_DISABLE_RE(huart1);
  // ATKPrcess();
  // initial_Pitch = pitch;
  // initial_selfAngelint = selfAngelint;

  // UART_ENABLE_RE(huart3);
  // if (HAL_UART_Transmit(&huart3, "task1", 5, HAL_MAX_DELAY) == HAL_ERROR)
  // {
  //   UART_DISABLE_RE(huart3); // error
  //   return HAL_ERROR;
  // }
  // UART_DISABLE_RE(huart3);

  //HAL_Delay(5000);

  HAL_GPIO_WritePin(LD2_GPIO_Port,LD2_Pin,GPIO_PIN_SET);
  printf("Initialized. \r\n");
  /* USER CODE END 2 */

  /* Infinite loop */
  /* USER CODE BEGIN WHILE */
  while (1)
  {

    /****************Test******************/
    //hc12send('a');

    //HAL_Delay(100);
    /* USER CODE END WHILE */

    /* USER CODE BEGIN 3 */

    //just type the task number below
    task(2);

    //printf("Distance left = %.3f cm, Distance right = %.3f cm.\r\n", cml, cmr);
    //HAL_Delay(500);
  }

  /* USER CODE END 3 */
}

void SystemClock_Config(void)
{
  RCC_OscInitTypeDef RCC_OscInitStruct = {0};
  RCC_ClkInitTypeDef RCC_ClkInitStruct = {0};

  /** Configure the main internal regulator output voltage
  */
  HAL_PWREx_ControlVoltageScaling(PWR_REGULATOR_VOLTAGE_SCALE1_BOOST);

  /** Initializes the RCC Oscillators according to the specified parameters
  * in the RCC_OscInitTypeDef structure.
  */
  RCC_OscInitStruct.OscillatorType = RCC_OSCILLATORTYPE_HSI;
  RCC_OscInitStruct.HSIState = RCC_HSI_ON;
  RCC_OscInitStruct.HSICalibrationValue = RCC_HSICALIBRATION_DEFAULT;
  RCC_OscInitStruct.PLL.PLLState = RCC_PLL_ON;
  RCC_OscInitStruct.PLL.PLLSource = RCC_PLLSOURCE_HSI;
  RCC_OscInitStruct.PLL.PLLM = RCC_PLLM_DIV4;
  RCC_OscInitStruct.PLL.PLLN = 85;
  RCC_OscInitStruct.PLL.PLLP = RCC_PLLP_DIV2;
  RCC_OscInitStruct.PLL.PLLQ = RCC_PLLQ_DIV2;
  RCC_OscInitStruct.PLL.PLLR = RCC_PLLR_DIV2;
  if (HAL_RCC_OscConfig(&RCC_OscInitStruct) != HAL_OK)
  {
    Error_Handler();
  }

  /** Initializes the CPU, AHB and APB buses clocks
  */
  RCC_ClkInitStruct.ClockType = RCC_CLOCKTYPE_HCLK|RCC_CLOCKTYPE_SYSCLK
                              |RCC_CLOCKTYPE_PCLK1|RCC_CLOCKTYPE_PCLK2;
  RCC_ClkInitStruct.SYSCLKSource = RCC_SYSCLKSOURCE_PLLCLK;
  RCC_ClkInitStruct.AHBCLKDivider = RCC_SYSCLK_DIV1;
  RCC_ClkInitStruct.APB1CLKDivider = RCC_HCLK_DIV1;
  RCC_ClkInitStruct.APB2CLKDivider = RCC_HCLK_DIV1;

  if (HAL_RCC_ClockConfig(&RCC_ClkInitStruct, FLASH_LATENCY_4) != HAL_OK)
  {
    Error_Handler();
  }
}

static void MX_LPUART1_UART_Init(void)
{

  hlpuart1.Instance = LPUART1;
  hlpuart1.Init.BaudRate = 115200;
  hlpuart1.Init.WordLength = UART_WORDLENGTH_8B;
  hlpuart1.Init.StopBits = UART_STOPBITS_1;
  hlpuart1.Init.Parity = UART_PARITY_NONE;
  hlpuart1.Init.Mode = UART_MODE_TX_RX;
  hlpuart1.Init.HwFlowCtl = UART_HWCONTROL_NONE;
  hlpuart1.Init.OneBitSampling = UART_ONE_BIT_SAMPLE_DISABLE;
  hlpuart1.Init.ClockPrescaler = UART_PRESCALER_DIV1;
  hlpuart1.AdvancedInit.AdvFeatureInit = UART_ADVFEATURE_NO_INIT;
  if (HAL_UART_Init(&hlpuart1) != HAL_OK)
  {
    Error_Handler();
  }
  if (HAL_UARTEx_SetTxFifoThreshold(&hlpuart1, UART_TXFIFO_THRESHOLD_1_8) != HAL_OK)
  {
    Error_Handler();
  }
  if (HAL_UARTEx_SetRxFifoThreshold(&hlpuart1, UART_RXFIFO_THRESHOLD_1_8) != HAL_OK)
  {
    Error_Handler();
  }
  if (HAL_UARTEx_DisableFifoMode(&hlpuart1) != HAL_OK)
  {
    Error_Handler();
  }

}

static void MX_UART4_Init(void)
{

  huart4.Instance = UART4;
  huart4.Init.BaudRate = 115200;
  huart4.Init.WordLength = UART_WORDLENGTH_8B;
  huart4.Init.StopBits = UART_STOPBITS_1;
  huart4.Init.Parity = UART_PARITY_NONE;
  huart4.Init.Mode = UART_MODE_TX_RX;
  huart4.Init.HwFlowCtl = UART_HWCONTROL_NONE;
  huart4.Init.OverSampling = UART_OVERSAMPLING_16;
  huart4.Init.OneBitSampling = UART_ONE_BIT_SAMPLE_DISABLE;
  huart4.Init.ClockPrescaler = UART_PRESCALER_DIV1;
  huart4.AdvancedInit.AdvFeatureInit = UART_ADVFEATURE_NO_INIT;
  if (HAL_UART_Init(&huart4) != HAL_OK)
  {
    Error_Handler();
  }
  if (HAL_UARTEx_SetTxFifoThreshold(&huart4, UART_TXFIFO_THRESHOLD_1_8) != HAL_OK)
  {
    Error_Handler();
  }
  if (HAL_UARTEx_SetRxFifoThreshold(&huart4, UART_RXFIFO_THRESHOLD_1_8) != HAL_OK)
  {
    Error_Handler();
  }
  if (HAL_UARTEx_DisableFifoMode(&huart4) != HAL_OK)
  {
    Error_Handler();
  }

}

static void MX_UART5_Init(void)
{

  huart5.Instance = UART5;
  huart5.Init.BaudRate = 115200;
  huart5.Init.WordLength = UART_WORDLENGTH_8B;
  huart5.Init.StopBits = UART_STOPBITS_1;
  huart5.Init.Parity = UART_PARITY_NONE;
  huart5.Init.Mode = UART_MODE_TX_RX;
  huart5.Init.HwFlowCtl = UART_HWCONTROL_NONE;
  huart5.Init.OverSampling = UART_OVERSAMPLING_16;
  huart5.Init.OneBitSampling = UART_ONE_BIT_SAMPLE_DISABLE;
  huart5.Init.ClockPrescaler = UART_PRESCALER_DIV1;
  huart5.AdvancedInit.AdvFeatureInit = UART_ADVFEATURE_NO_INIT;
  if (HAL_UART_Init(&huart5) != HAL_OK)
  {
    Error_Handler();
  }
  if (HAL_UARTEx_SetTxFifoThreshold(&huart5, UART_TXFIFO_THRESHOLD_1_8) != HAL_OK)
  {
    Error_Handler();
  }
  if (HAL_UARTEx_SetRxFifoThreshold(&huart5, UART_RXFIFO_THRESHOLD_1_8) != HAL_OK)
  {
    Error_Handler();
  }
  if (HAL_UARTEx_DisableFifoMode(&huart5) != HAL_OK)
  {
    Error_Handler();
  }

}

static void MX_USART1_UART_Init(void)
{

  huart1.Instance = USART1;
  huart1.Init.BaudRate = 9600;
  huart1.Init.WordLength = UART_WORDLENGTH_8B;
  huart1.Init.StopBits = UART_STOPBITS_1;
  huart1.Init.Parity = UART_PARITY_NONE;
  huart1.Init.Mode = UART_MODE_TX_RX;
  huart1.Init.HwFlowCtl = UART_HWCONTROL_NONE;
  huart1.Init.OverSampling = UART_OVERSAMPLING_16;
  huart1.Init.OneBitSampling = UART_ONE_BIT_SAMPLE_DISABLE;
  huart1.Init.ClockPrescaler = UART_PRESCALER_DIV1;
  huart1.AdvancedInit.AdvFeatureInit = UART_ADVFEATURE_NO_INIT;
  if (HAL_UART_Init(&huart1) != HAL_OK)
  {
    Error_Handler();
  }
  if (HAL_UARTEx_SetTxFifoThreshold(&huart1, UART_TXFIFO_THRESHOLD_1_8) != HAL_OK)
  {
    Error_Handler();
  }
  if (HAL_UARTEx_SetRxFifoThreshold(&huart1, UART_RXFIFO_THRESHOLD_1_8) != HAL_OK)
  {
    Error_Handler();
  }
  if (HAL_UARTEx_DisableFifoMode(&huart1) != HAL_OK)
  {
    Error_Handler();
  }

}

static void MX_USART3_UART_Init(void)
{

  huart3.Instance = USART3;
  huart3.Init.BaudRate = 115200;
  huart3.Init.WordLength = UART_WORDLENGTH_8B;
  huart3.Init.StopBits = UART_STOPBITS_1;
  huart3.Init.Parity = UART_PARITY_NONE;
  huart3.Init.Mode = UART_MODE_TX_RX;
  huart3.Init.HwFlowCtl = UART_HWCONTROL_NONE;
  huart3.Init.OverSampling = UART_OVERSAMPLING_16;
  huart3.Init.OneBitSampling = UART_ONE_BIT_SAMPLE_DISABLE;
  huart3.Init.ClockPrescaler = UART_PRESCALER_DIV1;
  huart3.AdvancedInit.AdvFeatureInit = UART_ADVFEATURE_NO_INIT;
  if (HAL_UART_Init(&huart3) != HAL_OK)
  {
    Error_Handler();
  }
  if (HAL_UARTEx_SetTxFifoThreshold(&huart3, UART_TXFIFO_THRESHOLD_1_8) != HAL_OK)
  {
    Error_Handler();
  }
  if (HAL_UARTEx_SetRxFifoThreshold(&huart3, UART_RXFIFO_THRESHOLD_1_8) != HAL_OK)
  {
    Error_Handler();
  }
  if (HAL_UARTEx_DisableFifoMode(&huart3) != HAL_OK)
  {
    Error_Handler();
  }

}

static void MX_TIM1_Init(void)
{

  TIM_ClockConfigTypeDef sClockSourceConfig = {0};
  TIM_MasterConfigTypeDef sMasterConfig = {0};
  TIM_OC_InitTypeDef sConfigOC = {0};
  TIM_BreakDeadTimeConfigTypeDef sBreakDeadTimeConfig = {0};

  htim1.Instance = TIM1;
  htim1.Init.Prescaler = 1699;
  htim1.Init.CounterMode = TIM_COUNTERMODE_UP;
  htim1.Init.Period = 3499;
  htim1.Init.ClockDivision = TIM_CLOCKDIVISION_DIV1;
  htim1.Init.RepetitionCounter = 0;
  htim1.Init.AutoReloadPreload = TIM_AUTORELOAD_PRELOAD_DISABLE;
  if (HAL_TIM_Base_Init(&htim1) != HAL_OK)
  {
    Error_Handler();
  }
  sClockSourceConfig.ClockSource = TIM_CLOCKSOURCE_INTERNAL;
  if (HAL_TIM_ConfigClockSource(&htim1, &sClockSourceConfig) != HAL_OK)
  {
    Error_Handler();
  }
  if (HAL_TIM_PWM_Init(&htim1) != HAL_OK)
  {
    Error_Handler();
  }
  sMasterConfig.MasterOutputTrigger = TIM_TRGO_RESET;
  sMasterConfig.MasterOutputTrigger2 = TIM_TRGO2_RESET;
  sMasterConfig.MasterSlaveMode = TIM_MASTERSLAVEMODE_DISABLE;
  if (HAL_TIMEx_MasterConfigSynchronization(&htim1, &sMasterConfig) != HAL_OK)
  {
    Error_Handler();
  }
  sConfigOC.OCMode = TIM_OCMODE_PWM1;
  sConfigOC.Pulse = 1;
  sConfigOC.OCPolarity = TIM_OCPOLARITY_HIGH;
  sConfigOC.OCNPolarity = TIM_OCNPOLARITY_HIGH;
  sConfigOC.OCFastMode = TIM_OCFAST_DISABLE;
  sConfigOC.OCIdleState = TIM_OCIDLESTATE_RESET;
  sConfigOC.OCNIdleState = TIM_OCNIDLESTATE_RESET;
  if (HAL_TIM_PWM_ConfigChannel(&htim1, &sConfigOC, TIM_CHANNEL_1) != HAL_OK)
  {
    Error_Handler();
  }
  sBreakDeadTimeConfig.OffStateRunMode = TIM_OSSR_DISABLE;
  sBreakDeadTimeConfig.OffStateIDLEMode = TIM_OSSI_DISABLE;
  sBreakDeadTimeConfig.LockLevel = TIM_LOCKLEVEL_OFF;
  sBreakDeadTimeConfig.DeadTime = 0;
  sBreakDeadTimeConfig.BreakState = TIM_BREAK_DISABLE;
  sBreakDeadTimeConfig.BreakPolarity = TIM_BREAKPOLARITY_HIGH;
  sBreakDeadTimeConfig.BreakFilter = 0;
  sBreakDeadTimeConfig.BreakAFMode = TIM_BREAK_AFMODE_INPUT;
  sBreakDeadTimeConfig.Break2State = TIM_BREAK2_DISABLE;
  sBreakDeadTimeConfig.Break2Polarity = TIM_BREAK2POLARITY_HIGH;
  sBreakDeadTimeConfig.Break2Filter = 0;
  sBreakDeadTimeConfig.Break2AFMode = TIM_BREAK_AFMODE_INPUT;
  sBreakDeadTimeConfig.AutomaticOutput = TIM_AUTOMATICOUTPUT_DISABLE;
  if (HAL_TIMEx_ConfigBreakDeadTime(&htim1, &sBreakDeadTimeConfig) != HAL_OK)
  {
    Error_Handler();
  }
  HAL_TIM_MspPostInit(&htim1);

}

static void MX_TIM2_Init(void)
{

  TIM_ClockConfigTypeDef sClockSourceConfig = {0};
  TIM_MasterConfigTypeDef sMasterConfig = {0};
  TIM_OC_InitTypeDef sConfigOC = {0};

  htim2.Instance = TIM2;
  htim2.Init.Prescaler = 169;
  htim2.Init.CounterMode = TIM_COUNTERMODE_UP;
  htim2.Init.Period = 19999;
  htim2.Init.ClockDivision = TIM_CLOCKDIVISION_DIV1;
  htim2.Init.AutoReloadPreload = TIM_AUTORELOAD_PRELOAD_DISABLE;
  if (HAL_TIM_Base_Init(&htim2) != HAL_OK)
  {
    Error_Handler();
  }
  sClockSourceConfig.ClockSource = TIM_CLOCKSOURCE_INTERNAL;
  if (HAL_TIM_ConfigClockSource(&htim2, &sClockSourceConfig) != HAL_OK)
  {
    Error_Handler();
  }
  if (HAL_TIM_PWM_Init(&htim2) != HAL_OK)
  {
    Error_Handler();
  }
  sMasterConfig.MasterOutputTrigger = TIM_TRGO_RESET;
  sMasterConfig.MasterSlaveMode = TIM_MASTERSLAVEMODE_DISABLE;
  if (HAL_TIMEx_MasterConfigSynchronization(&htim2, &sMasterConfig) != HAL_OK)
  {
    Error_Handler();
  }
  sConfigOC.OCMode = TIM_OCMODE_PWM1;
  sConfigOC.Pulse = 500;
  sConfigOC.OCPolarity = TIM_OCPOLARITY_HIGH;
  sConfigOC.OCFastMode = TIM_OCFAST_DISABLE;
  if (HAL_TIM_PWM_ConfigChannel(&htim2, &sConfigOC, TIM_CHANNEL_1) != HAL_OK)
  {
    Error_Handler();
  }
  if (HAL_TIM_PWM_ConfigChannel(&htim2, &sConfigOC, TIM_CHANNEL_3) != HAL_OK)
  {
    Error_Handler();
  }
  if (HAL_TIM_PWM_ConfigChannel(&htim2, &sConfigOC, TIM_CHANNEL_4) != HAL_OK)
  {
    Error_Handler();
  }
  HAL_TIM_MspPostInit(&htim2);

}

static void MX_TIM4_Init(void)
{

  TIM_ClockConfigTypeDef sClockSourceConfig = {0};
  TIM_MasterConfigTypeDef sMasterConfig = {0};
  TIM_IC_InitTypeDef sConfigIC = {0};

  htim4.Instance = TIM4;
  htim4.Init.Prescaler = 33999;
  htim4.Init.CounterMode = TIM_COUNTERMODE_UP;
  htim4.Init.Period = 65535;
  htim4.Init.ClockDivision = TIM_CLOCKDIVISION_DIV1;
  htim4.Init.AutoReloadPreload = TIM_AUTORELOAD_PRELOAD_DISABLE;
  if (HAL_TIM_Base_Init(&htim4) != HAL_OK)
  {
    Error_Handler();
  }
  sClockSourceConfig.ClockSource = TIM_CLOCKSOURCE_INTERNAL;
  if (HAL_TIM_ConfigClockSource(&htim4, &sClockSourceConfig) != HAL_OK)
  {
    Error_Handler();
  }
  if (HAL_TIM_IC_Init(&htim4) != HAL_OK)
  {
    Error_Handler();
  }
  sMasterConfig.MasterOutputTrigger = TIM_TRGO_RESET;
  sMasterConfig.MasterSlaveMode = TIM_MASTERSLAVEMODE_DISABLE;
  if (HAL_TIMEx_MasterConfigSynchronization(&htim4, &sMasterConfig) != HAL_OK)
  {
    Error_Handler();
  }
  sConfigIC.ICPolarity = TIM_INPUTCHANNELPOLARITY_BOTHEDGE;
  sConfigIC.ICSelection = TIM_ICSELECTION_DIRECTTI;
  sConfigIC.ICPrescaler = TIM_ICPSC_DIV1;
  sConfigIC.ICFilter = 0;
  if (HAL_TIM_IC_ConfigChannel(&htim4, &sConfigIC, TIM_CHANNEL_1) != HAL_OK)
  {
    Error_Handler();
  }

}

static void MX_TIM5_Init(void)
{

  TIM_ClockConfigTypeDef sClockSourceConfig = {0};
  TIM_MasterConfigTypeDef sMasterConfig = {0};
  TIM_IC_InitTypeDef sConfigIC = {0};

  htim5.Instance = TIM5;
  htim5.Init.Prescaler = 169;
  htim5.Init.CounterMode = TIM_COUNTERMODE_UP;
  htim5.Init.Period = 4.294967295E9;
  htim5.Init.ClockDivision = TIM_CLOCKDIVISION_DIV1;
  htim5.Init.AutoReloadPreload = TIM_AUTORELOAD_PRELOAD_DISABLE;
  if (HAL_TIM_Base_Init(&htim5) != HAL_OK)
  {
    Error_Handler();
  }
  sClockSourceConfig.ClockSource = TIM_CLOCKSOURCE_INTERNAL;
  if (HAL_TIM_ConfigClockSource(&htim5, &sClockSourceConfig) != HAL_OK)
  {
    Error_Handler();
  }
  if (HAL_TIM_IC_Init(&htim5) != HAL_OK)
  {
    Error_Handler();
  }
  sMasterConfig.MasterOutputTrigger = TIM_TRGO_RESET;
  sMasterConfig.MasterSlaveMode = TIM_MASTERSLAVEMODE_DISABLE;
  if (HAL_TIMEx_MasterConfigSynchronization(&htim5, &sMasterConfig) != HAL_OK)
  {
    Error_Handler();
  }
  sConfigIC.ICPolarity = TIM_INPUTCHANNELPOLARITY_BOTHEDGE;
  sConfigIC.ICSelection = TIM_ICSELECTION_DIRECTTI;
  sConfigIC.ICPrescaler = TIM_ICPSC_DIV1;
  sConfigIC.ICFilter = 0;
  if (HAL_TIM_IC_ConfigChannel(&htim5, &sConfigIC, TIM_CHANNEL_1) != HAL_OK)
  {
    Error_Handler();
  }
  if (HAL_TIM_IC_ConfigChannel(&htim5, &sConfigIC, TIM_CHANNEL_2) != HAL_OK)
  {
    Error_Handler();
  }

}

static void MX_GPIO_Init(void)
{
  GPIO_InitTypeDef GPIO_InitStruct = {0};

  /* GPIO Ports Clock Enable */
  __HAL_RCC_GPIOC_CLK_ENABLE();
  __HAL_RCC_GPIOF_CLK_ENABLE();
  __HAL_RCC_GPIOA_CLK_ENABLE();
  __HAL_RCC_GPIOB_CLK_ENABLE();
  __HAL_RCC_GPIOD_CLK_ENABLE();

  /*Configure GPIO pin Output Level */
  HAL_GPIO_WritePin(LD2_GPIO_Port, LD2_Pin, GPIO_PIN_RESET);

  /*Configure GPIO pin Output Level */
  HAL_GPIO_WritePin(GPIOB, ldr_Pin|ldg_Pin, GPIO_PIN_RESET);

  /*Configure GPIO pin : B1_Pin */
  GPIO_InitStruct.Pin = B1_Pin;
  GPIO_InitStruct.Mode = GPIO_MODE_IT_RISING;
  GPIO_InitStruct.Pull = GPIO_NOPULL;
  HAL_GPIO_Init(B1_GPIO_Port, &GPIO_InitStruct);

  /*Configure GPIO pin : LD2_Pin */
  GPIO_InitStruct.Pin = LD2_Pin;
  GPIO_InitStruct.Mode = GPIO_MODE_OUTPUT_PP;
  GPIO_InitStruct.Pull = GPIO_NOPULL;
  GPIO_InitStruct.Speed = GPIO_SPEED_FREQ_LOW;
  HAL_GPIO_Init(LD2_GPIO_Port, &GPIO_InitStruct);

  /*Configure GPIO pins : ldr_Pin ldg_Pin */
  GPIO_InitStruct.Pin = ldr_Pin|ldg_Pin;
  GPIO_InitStruct.Mode = GPIO_MODE_OUTPUT_PP;
  GPIO_InitStruct.Pull = GPIO_NOPULL;
  GPIO_InitStruct.Speed = GPIO_SPEED_FREQ_LOW;
  HAL_GPIO_Init(GPIOB, &GPIO_InitStruct);

  /* EXTI interrupt init*/
  HAL_NVIC_SetPriority(EXTI15_10_IRQn, 0, 0);
  HAL_NVIC_EnableIRQ(EXTI15_10_IRQn);

}

/* USER CODE BEGIN 4 */
/**
 * @brief  Retargets the C library printf function to the USART.
 * @param  None
 * @retval None
 */
PUTCHAR_PROTOTYPE
{
  /* Place your implementation of fputc here */
  /* e.g. write a character to the USART1 and Loop until the end of transmission */
  HAL_UART_Transmit(&hlpuart1, (uint8_t *)&ch, 1, 0xFFFF);

  return ch;
}

/* USER CODE END 4 */

void Error_Handler(void)
{
  __disable_irq();
  while (1)
  {
  }
}
